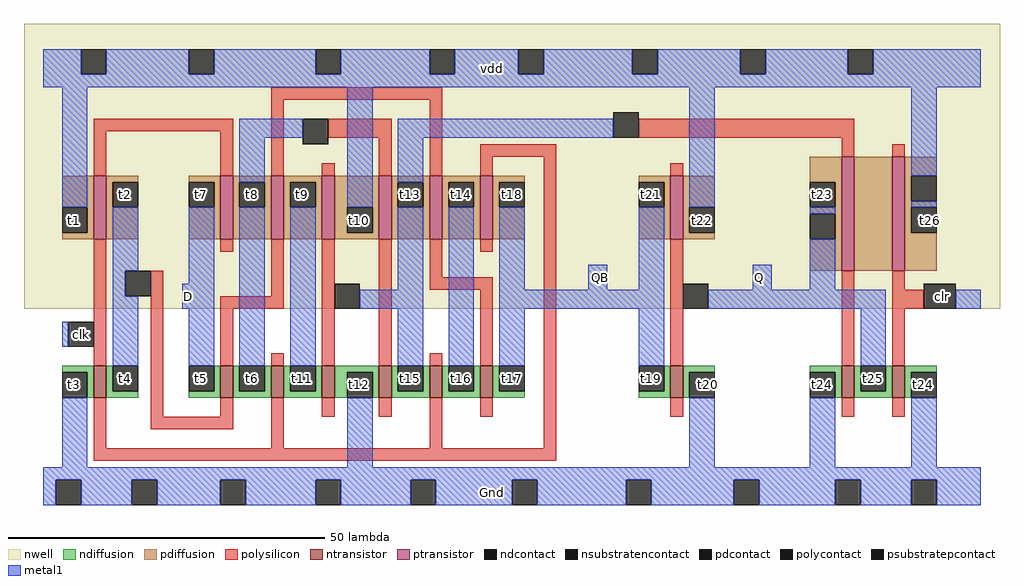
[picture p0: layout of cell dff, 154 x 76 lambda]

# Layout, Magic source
magic
tech min2
<< nwell >>
rect -1 -12 153 33
<< ntransistor >>
rect 10 -26 12 -21
rect 30 -26 32 -21
rect 38 -26 40 -21
rect 46 -26 48 -21
rect 55 -26 57 -21
rect 63 -26 65 -21
rect 71 -26 73 -21
rect 101 -26 103 -21
rect 128 -26 130 -21
rect 136 -26 138 -21
<< ptransistor >>
rect 10 -1 12 9
rect 30 -1 32 9
rect 38 -1 40 9
rect 46 -1 48 9
rect 55 -1 57 9
rect 63 -1 65 9
rect 71 -1 73 9
rect 101 -1 103 9
rect 128 -6 130 12
rect 136 -6 138 12
<< ndiffusion >>
rect 5 -22 10 -21
rect 9 -26 10 -22
rect 12 -25 13 -21
rect 12 -26 17 -25
rect 29 -25 30 -21
rect 25 -26 30 -25
rect 32 -25 33 -21
rect 37 -25 38 -21
rect 32 -26 38 -25
rect 40 -25 41 -21
rect 45 -25 46 -21
rect 40 -26 46 -25
rect 48 -22 55 -21
rect 48 -26 50 -22
rect 54 -26 55 -22
rect 57 -25 58 -21
rect 62 -25 63 -21
rect 57 -26 63 -25
rect 65 -25 66 -21
rect 70 -25 71 -21
rect 65 -26 71 -25
rect 73 -25 74 -21
rect 73 -26 78 -25
rect 100 -25 101 -21
rect 96 -26 101 -25
rect 103 -22 108 -21
rect 103 -26 104 -22
rect 123 -22 128 -21
rect 127 -26 128 -22
rect 130 -25 131 -21
rect 135 -25 136 -21
rect 130 -26 136 -25
rect 138 -22 143 -21
rect 138 -26 139 -22
<< pdiffusion >>
rect 5 4 10 9
rect 9 0 10 4
rect 5 -1 10 0
rect 12 8 17 9
rect 12 4 13 8
rect 12 -1 17 4
rect 25 8 30 9
rect 29 4 30 8
rect 25 -1 30 4
rect 32 8 38 9
rect 32 4 33 8
rect 37 4 38 8
rect 32 -1 38 4
rect 40 8 46 9
rect 40 4 41 8
rect 45 4 46 8
rect 40 -1 46 4
rect 48 4 55 9
rect 48 0 50 4
rect 54 0 55 4
rect 48 -1 55 0
rect 57 8 63 9
rect 57 4 58 8
rect 62 4 63 8
rect 57 -1 63 4
rect 65 8 71 9
rect 65 4 66 8
rect 70 4 71 8
rect 65 -1 71 4
rect 73 8 78 9
rect 73 4 74 8
rect 73 -1 78 4
rect 96 8 101 9
rect 100 4 101 8
rect 96 -1 101 4
rect 103 4 108 9
rect 103 0 104 4
rect 103 -1 108 0
rect 123 8 128 12
rect 127 4 128 8
rect 123 3 128 4
rect 127 -1 128 3
rect 123 -6 128 -1
rect 130 -6 136 12
rect 138 9 143 12
rect 138 5 139 9
rect 138 4 143 5
rect 138 0 139 4
rect 138 -6 143 0
<< ndcontact >>
rect 5 -26 9 -22
rect 13 -25 17 -21
rect 25 -25 29 -21
rect 33 -25 37 -21
rect 41 -25 45 -21
rect 50 -26 54 -22
rect 58 -25 62 -21
rect 66 -25 70 -21
rect 74 -25 78 -21
rect 96 -25 100 -21
rect 104 -26 108 -22
rect 123 -26 127 -22
rect 131 -25 135 -21
rect 139 -26 143 -22
<< pdcontact >>
rect 5 0 9 4
rect 13 4 17 8
rect 25 4 29 8
rect 33 4 37 8
rect 41 4 45 8
rect 50 0 54 4
rect 58 4 62 8
rect 66 4 70 8
rect 74 4 78 8
rect 96 4 100 8
rect 104 0 108 4
rect 123 4 127 8
rect 123 -1 127 3
rect 139 5 143 9
rect 139 0 143 4
<< psubstratepcontact >>
rect 4 -43 8 -39
rect 16 -43 20 -39
rect 30 -43 34 -39
rect 45 -43 49 -39
rect 60 -43 64 -39
rect 76 -43 80 -39
rect 94 -43 98 -39
rect 111 -43 115 -39
rect 127 -43 131 -39
rect 139 -43 143 -39
<< nsubstratencontact >>
rect 8 25 12 29
rect 25 25 29 29
rect 45 25 49 29
rect 63 25 67 29
rect 77 25 81 29
rect 95 25 99 29
rect 112 25 116 29
rect 129 25 133 29
<< polysilicon >>
rect 38 21 65 23
rect 10 16 32 18
rect 10 9 12 16
rect 30 9 32 16
rect 38 9 40 21
rect 47 15 57 18
rect 46 9 48 11
rect 55 9 57 15
rect 63 9 65 21
rect 96 15 130 18
rect 71 12 83 14
rect 128 12 130 15
rect 136 12 138 14
rect 71 9 73 12
rect 10 -21 12 -1
rect 30 -3 32 -1
rect 10 -34 12 -26
rect 19 -29 21 -6
rect 38 -10 40 -1
rect 30 -12 40 -10
rect 30 -21 32 -12
rect 38 -21 40 -19
rect 46 -21 48 -1
rect 55 -21 57 -1
rect 63 -7 65 -1
rect 71 -3 73 -1
rect 63 -9 73 -7
rect 63 -21 65 -19
rect 71 -21 73 -9
rect 30 -29 32 -26
rect 19 -31 32 -29
rect 38 -34 40 -26
rect 46 -29 48 -26
rect 55 -29 57 -26
rect 63 -34 65 -26
rect 71 -29 73 -26
rect 81 -34 83 12
rect 101 9 103 11
rect 101 -21 103 -1
rect 128 -21 130 -6
rect 136 -9 138 -6
rect 136 -12 141 -9
rect 136 -21 138 -12
rect 101 -29 103 -26
rect 128 -29 130 -26
rect 136 -29 138 -26
rect 10 -36 83 -34
<< polycontact >>
rect 43 14 47 18
rect 92 15 96 19
rect 6 -18 10 -14
rect 15 -10 19 -6
rect 48 -12 52 -8
rect 103 -12 107 -8
rect 141 -12 146 -8
<< metal1 >>
rect 2 25 8 29
rect 12 25 25 29
rect 29 25 45 29
rect 49 25 63 29
rect 67 25 77 29
rect 81 25 95 29
rect 99 25 112 29
rect 116 25 129 29
rect 133 25 150 29
rect 2 23 150 25
rect 5 4 9 23
rect 33 15 43 18
rect 33 8 37 15
rect 13 -6 17 4
rect 13 -10 15 -6
rect 25 -8 29 4
rect 5 -18 6 -14
rect 13 -21 17 -10
rect 24 -12 29 -8
rect 25 -21 29 -12
rect 33 -21 37 4
rect 41 -21 45 4
rect 50 4 54 23
rect 58 15 92 18
rect 58 8 62 15
rect 58 -9 62 4
rect 52 -12 62 -9
rect 58 -21 62 -12
rect 5 -37 9 -26
rect 66 -21 70 4
rect 74 -9 78 4
rect 88 -9 91 -5
rect 96 -9 100 4
rect 104 4 108 23
rect 139 9 143 23
rect 123 3 127 4
rect 139 4 143 5
rect 74 -12 100 -9
rect 114 -9 117 -5
rect 123 -9 127 -1
rect 107 -12 135 -9
rect 146 -12 150 -9
rect 74 -21 78 -12
rect 96 -21 100 -12
rect 131 -21 135 -12
rect 50 -37 54 -26
rect 104 -37 108 -26
rect 123 -37 127 -26
rect 139 -37 143 -26
rect 2 -39 150 -37
rect 2 -43 4 -39
rect 8 -43 16 -39
rect 20 -43 30 -39
rect 34 -43 45 -39
rect 49 -43 60 -39
rect 64 -43 76 -39
rect 80 -43 94 -39
rect 98 -43 111 -39
rect 115 -43 127 -39
rect 131 -43 139 -39
rect 143 -43 150 -39
<< labels >>
rlabel polycontact 8 -16 8 -16 1 clk
rlabel metal1 25 -10 25 -10 1 D
rlabel metal1 115 -7 115 -7 1 Q
rlabel metal1 90 -7 90 -7 1 QB
rlabel pdcontact 7 2 7 2 3 t1
rlabel pdcontact 15 6 15 6 1 t2
rlabel pdcontact 27 6 27 6 1 t7
rlabel pdcontact 35 6 35 6 1 t8
rlabel pdcontact 43 6 43 6 1 t9
rlabel pdcontact 52 2 52 2 1 t10
rlabel pdcontact 60 6 60 6 1 t13
rlabel pdcontact 68 6 68 6 1 t14
rlabel pdcontact 76 6 76 6 1 t18
rlabel pdcontact 98 6 98 6 1 t21
rlabel pdcontact 106 2 106 2 1 t22
rlabel pdcontact 125 6 125 6 1 t23
rlabel pdcontact 142 2 142 2 1 t26
rlabel polycontact 144 -10 144 -10 1 clr
rlabel metal1 73 26 73 26 5 vdd
rlabel metal1 73 -41 73 -41 1 Gnd
rlabel ndcontact 7 -24 7 -24 3 t3
rlabel ndcontact 15 -23 15 -23 1 t4
rlabel ndcontact 27 -23 27 -23 1 t5
rlabel ndcontact 35 -23 35 -23 1 t6
rlabel ndcontact 43 -23 43 -23 1 t11
rlabel ndcontact 52 -24 52 -24 1 t12
rlabel ndcontact 60 -23 60 -23 1 t15
rlabel ndcontact 68 -23 68 -23 1 t16
rlabel ndcontact 76 -23 76 -23 1 t17
rlabel ndcontact 98 -23 98 -23 1 t19
rlabel ndcontact 107 -24 107 -24 1 t20
rlabel ndcontact 125 -24 125 -24 1 t24
rlabel ndcontact 133 -23 133 -23 1 t25
rlabel ndcontact 141 -24 141 -24 1 t24
<< end >>
